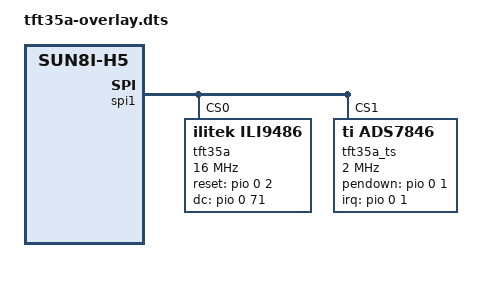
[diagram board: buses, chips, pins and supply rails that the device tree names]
/dts-v1/;
/plugin/;

/ {
	compatible = "allwinner,sun8i-h5";

	fragment@0 {
		target = <&spi1>;

		__overlay__ {
			status = "okay";
		};
	};

	fragment@1 {
		target = <&pio>;

		__overlay__ {

			tft35a_pins: tft35a_pins {
				allwinner,pins = "PC7", "PA2";
				allwinner,function = "gpio_out";
			};

			ads7846_pins: ads7846_pins {
				pins= "PA1";
				function = "irq";
      };
		};
	};

	fragment@2 {
		target = <&spi1>;

		__overlay__ {
			#address-cells = <1>;
			#size-cells = <0>;

			tft35a: tft35a@0 {
				compatible = "ilitek,ili9486";
				reg = <0>;
				status = "okay";
				pinctrl-names = "default";
				pinctrl-0 = <&tft35a_pins>;
				
				spi-max-frequency = <16000000>;
				txbuflen = <32768>;
				rotate = <90>;
				bgr = <0>;
				fps = <25>;
				buswidth = <8>;
				regwidth = <16>;
				reset-gpios = <&pio 0 2 0>; /* PA2 */
				dc-gpios = <&pio 0 71 0>; /* PC7 */
				debug = <1>;
				
				init = <0x10000b0 0x00
				        0x1000011
					0x20000ff
					0x100003a 0x55
					0x1000036 0x28
					0x10000c2 0x44
					0x10000c5 0x00 0x00 0x00 0x00
					0x10000e0 0x0f 0x1f 0x1c 0x0c 0x0f 0x08 0x48 0x98 0x37 0x0a 0x13 0x04 0x11 0x0d 0x00
					0x10000e1 0x0f 0x32 0x2e 0x0b 0x0d 0x05 0x47 0x75 0x37 0x06 0x10 0x03 0x24 0x20 0x00
					0x10000e2 0x0f 0x32 0x2e 0x0b 0x0d 0x05 0x47 0x75 0x37 0x06 0x10 0x03 0x24 0x20 0x00
					/* piscreen -> waveshare35a */
					0x1000036 0x28
					0x1000011
					0x1000029>;
			};

			tft35a_ts: tft35a-ts@1 {
				compatible = "ti,ads7846";
				reg = <1>;
				status = "okay";
				pinctrl-names = "default";
				pinctrl-0 = <&ads7846_pins>;
				spi-max-frequency = <2000000>;
				interrupts = <0 1 2>; /* PA1 IRQ_TYPE_EDGE_FALLING */
				interrupt-parent = <&pio>;
				pendown-gpio = <&pio 0 1 0>; /* PA1 */
				ti,x-min = /bits/ 16 <0>;
				ti,y-min = /bits/ 16 <0>;
				ti,x-max = /bits/ 16 <0x0FFF>;
				ti,y-max = /bits/ 16 <0x0FFF>;
				ti,pressure-min = /bits/ 16 <0>;
				ti,pressure-max = /bits/ 16 <0xFFFF>;
				ti,x-plate-ohms = /bits/ 16 <400>;
			};
		};
	};

	__overrides__ {
		speed = <&tft35a>,"spi-max-frquency:0";
		txbuflen = <&tft35a>,"txbuflen:0";
		rotate = <&tft35a>,"rotate:0";
		fps = <&tft35a>,"fps:0";
		bgr = <&tft35a>,"bgr:0";
		debug = <&tft35a>,"debug:0";
		swapxy = <&tft35a_ts>,"ti,swap-xy?";
	};
};
